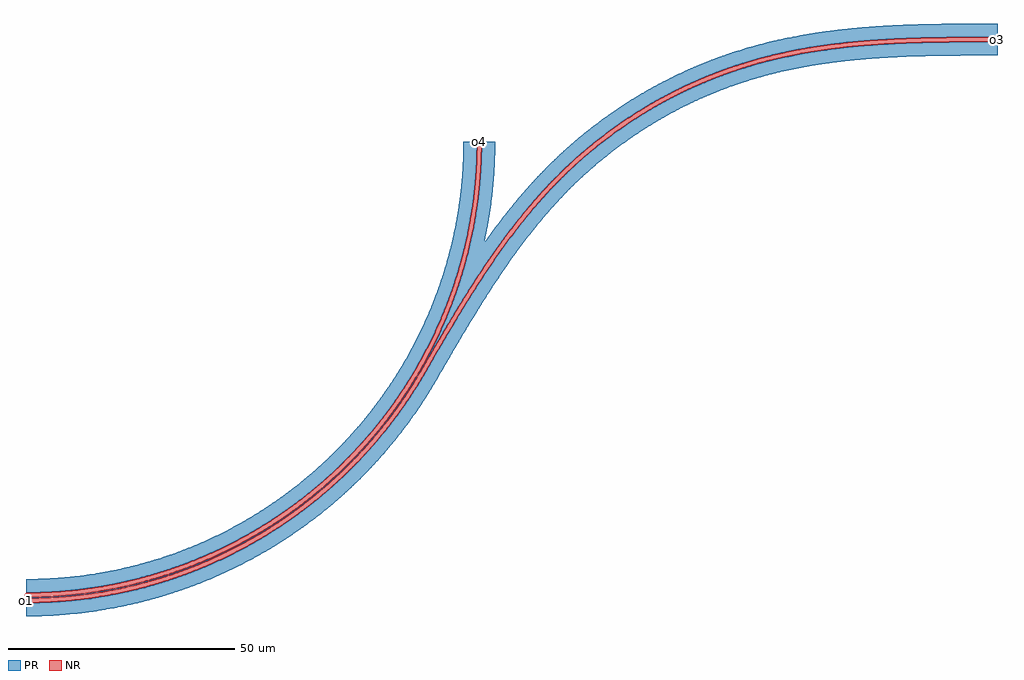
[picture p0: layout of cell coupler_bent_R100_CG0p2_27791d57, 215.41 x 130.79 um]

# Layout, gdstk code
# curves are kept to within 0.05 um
import gdstk
lib = gdstk.Library(unit=1e-6, precision=1e-09)
def P(c, l, *ps):  # polygons
    for p in ps: c.add(gdstk.Polygon(p, *l))
PR = (60, 0)
NR = (61, 0)

ps_26 = lib.new_cell('ps_26')
P(ps_26, PR, [(0,1.7),(0,4.7),(4.856,4.822),(10.184,5.239),(15.24,5.911),(20.254,6.849),(25.211,8.051),(30.558,9.666),(35.578,11.498),(40.268,13.503),(43.983,15.306),(47.829,17.387),(51.576,19.639),(55.018,21.92),(58.553,24.494),(61.781,27.069),(65.075,29.943),(68.236,32.964),(71.257,36.125),(74.131,39.419),(76.706,42.647),(79.28,46.182),(81.561,49.624),(83.813,53.371),(85.894,57.217),(87.697,60.932),(89.702,65.622),(91.534,70.642),(93.149,75.989),(94.351,80.946),(95.289,85.96),(95.961,91.016),(96.378,96.344),(96.5,101.2),(99.5,101.2),(99.374,96.193),(99.021,91.447),(98.405,86.476),(97.637,82.034),(96.609,77.388),(95.288,72.556),(93.81,68.033),(92.022,63.355),(90.107,58.998),(87.869,54.517),(85.537,50.369),(82.87,46.129),(79.994,42.029),(76.915,38.078),(73.809,34.473),(70.534,31.02),(67.098,27.728),(63.509,24.604),(59.774,21.655),(55.487,18.608),(51.261,15.92),(47.125,13.567),(42.881,11.414),(38.308,9.37),(33.403,7.474),(29.123,6.057),(24.298,4.712),(19.657,3.661),(14.724,2.795),(9.753,2.179),(5.007,1.826)],
  [(0,-3.5),(0,-0.5),(4.563,-0.398),(9.369,-0.068),(14.405,0.525),(19.156,1.32),(24.111,2.399),(28.763,3.652),(33.589,5.207),(38.097,6.905),(41.365,8.292),(45.038,10.016),(48.416,11.764),(51.726,13.637),(54.964,15.632),(57.917,17.602),(61.002,19.826),(64.199,22.324),(66.721,24.446),(69.174,26.649),(73.683,31.102),(77.907,35.828),(81.677,40.605),(84.171,44.12),(86.381,47.522),(95.166,62.456),(98.04,67.136),(100.904,71.596),(103.77,75.825),(106.644,79.815),(109.293,83.262),(112.052,86.62),(114.802,89.735),(117.801,92.875),(120.931,95.883),(123.902,98.508),(127.421,101.36),(130.604,103.722),(134.195,106.161),(137.564,108.249),(141.014,110.202),(145.047,112.263),(148.997,114.064),(153.022,115.691),(157.114,117.141),(161.265,118.411),(165.284,119.456),(169.714,120.415),(174.18,121.201),(178.484,121.806),(183.184,122.318),(188.087,122.709),(192.812,122.97),(199.058,123.176),(214.412,123.291),(214.412,120.291),(205.145,120.266),(198.375,120.159),(192.385,119.947),(186.429,119.583),(180.88,119.067),(176.106,118.458),(171.193,117.644),(166.337,116.622),(162.786,115.72),(159.099,114.63),(155.287,113.332),(152.04,112.084),(148.507,110.569),(145.365,109.078),(142.278,107.475),(138.936,105.575),(135.213,103.243),(132.045,101.065),(128.967,98.762),(125.843,96.221),(123.097,93.799),(120.315,91.146),(117.387,88.113),(114.695,85.095),(111.988,81.831),(109.161,78.172),(106.443,74.413),(103.821,70.568),(100.881,66.018),(98.026,61.39),(88.791,45.717),(86.064,41.575),(83.46,37.982),(81.203,35.107),(79.189,32.708),(76.928,30.177),(74.586,27.722),(72.165,25.343),(69.669,23.044),(67.1,20.828),(64.46,18.695),(61.118,16.19),(57.679,13.82),(53.701,11.32),(50.073,9.25),(46.366,7.326),(42.347,5.446),(38.008,3.642),(34.087,2.204),(30.112,0.923),(25.836,-0.262),(21.513,-1.266),(17.152,-2.086),(12.76,-2.72),(8.605,-3.146),(4.176,-3.417)],
  [(0,0.5),(0,0.7),(5.31,0.84),(10.857,1.288),(15.872,1.961),(20.103,2.731),(25.033,3.867),(29.416,5.101),(34.214,6.703),(38.693,8.447),(43.084,10.403),(47.598,12.686),(51.776,15.063),(56.255,17.919),(60.375,20.856),(64.147,23.834),(67.585,26.819),(71.243,30.315),(74.381,33.615),(77.688,37.443),(80.798,41.434),(83.563,45.365),(86.137,49.424),(88.514,53.602),(90.797,58.116),(92.85,62.74),(94.668,67.462),(96.173,72.026),(97.519,76.903),(98.569,81.593),(99.431,86.579),(100.041,91.601),(100.373,96.142),(100.5,101.2),(103.5,101.2),(103.327,95.211),(102.866,89.76),(102.118,84.34),(101.082,78.957),(103.668,82.515),(105.918,85.444),(108.628,88.767),(111.195,91.713),(113.732,94.437),(116.366,97.076),(118.949,99.488),(121.763,101.937),(124.819,104.404),(127.965,106.753),(131.035,108.872),(134.347,110.982),(137.394,112.772),(140.849,114.638),(144.195,116.288),(147.598,117.816),(151.054,119.221),(154.373,120.436),(157.543,121.479),(160.935,122.471),(164.357,123.347),(167.988,124.149),(171.443,124.802),(175.484,125.441),(183.196,126.336),(191.672,126.921),(200.882,127.213),(214.412,127.291),(214.412,124.291),(204.922,124.264),(198.085,124.153),(191.628,123.915),(185.744,123.542),(180.44,123.043),(175.342,122.389),(170.083,121.505),(165.609,120.56),(161.912,119.628),(157.889,118.443),(154.457,117.285),(151.068,116.004),(147.554,114.525),(144.098,112.913),(140.538,111.082),(137.218,109.206),(133.812,107.104),(130.335,104.757),(126.809,102.151),(123.692,99.639),(120.536,96.877),(117.633,94.119),(114.582,90.971),(111.662,87.703),(108.866,84.331),(106.07,80.717),(103.387,77.021),(100.489,72.781),(97.699,68.472),(94.604,63.46),(85.531,48.05),(83.061,44.266),(80.423,40.597),(78.259,37.827),(76.328,35.515),(72.088,30.888),(69.771,28.588),(67.381,26.365),(62.589,22.313),(59.19,19.732),(55.685,17.297),(51.864,14.883),(48.381,12.883),(44.82,11.024),(40.729,9.104),(36.79,7.461),(33.022,6.068),(28.961,4.754),(25.092,3.676),(20.445,2.597),(16.496,1.86),(12.023,1.22),(8.026,0.82),(4.267,0.59)])

ng_24 = lib.new_cell('ng_24')
P(ng_24, NR, [(0,0.7),(0,1.7),(5.758,1.867),(11.496,2.366),(17.196,3.197),(22.594,4.299),(26.96,5.422),(30.795,6.585),(35.049,8.077),(39.001,9.662),(43.333,11.631),(47.345,13.686),(51.261,15.92),(55.695,18.748),(59.573,21.505),(63.122,24.285),(66.727,27.391),(70.18,30.666),(73.472,34.102),(76.596,37.691),(79.545,41.426),(82.452,45.505),(85.28,49.939),(87.514,53.855),(89.569,57.867),(91.538,62.199),(93.123,66.151),(94.615,70.405),(95.778,74.24),(96.901,78.606),(98.003,84.004),(98.834,89.704),(99.333,95.442),(99.5,101.2),(100.5,101.2),(100.373,96.142),(100.041,91.601),(99.431,86.579),(98.569,81.593),(97.519,76.903),(96.173,72.026),(94.668,67.462),(92.85,62.74),(90.797,58.116),(88.514,53.602),(86.137,49.424),(83.563,45.365),(80.798,41.434),(77.688,37.443),(74.381,33.615),(71.243,30.315),(67.585,26.819),(63.757,23.512),(59.766,20.402),(55.835,17.637),(51.776,15.063),(47.598,12.686),(43.084,10.403),(38.46,8.35),(33.738,6.532),(29.174,5.027),(24.297,3.681),(19.607,2.631),(14.621,1.769),(9.599,1.159),(5.058,0.827)],
  [(0,-0.5),(0,0.5),(5.019,0.625),(10.026,1),(15.257,1.662),(20.445,2.597),(24.362,3.491),(27.757,4.401),(31.357,5.506),(34.677,6.659),(38.652,8.213),(42.33,9.829),(45.94,11.59),(49.478,13.493),(52.723,15.405),(56.311,17.716),(59.798,20.177),(62.982,22.626),(67.754,26.702),(69.952,28.762),(72.438,31.248),(74.498,33.446),(76.817,36.087),(80.724,40.999),(83.061,44.266),(85.531,48.05),(94.309,62.972),(97.496,68.15),(100.279,72.464),(102.95,76.398),(105.842,80.412),(108.628,84.033),(111.662,87.703),(114.582,90.971),(117.633,94.119),(120.536,96.877),(123.692,99.639),(126.809,102.151),(130.491,104.867),(134.132,107.31),(137.547,109.4),(141.379,111.531),(145.473,113.574),(149.304,115.281),(153.203,116.827),(157.344,118.268),(161.177,119.425),(165.609,120.56),(169.709,121.433),(173.836,122.159),(178.55,122.822),(183.28,123.331),(188.211,123.719),(193.907,124.017),(199.225,124.18),(214.412,124.291),(214.412,123.291),(199.058,123.176),(192.812,122.97),(188.087,122.709),(182.619,122.264),(177.922,121.735),(173.06,121.019),(168.418,120.154),(164.367,119.233),(160.539,118.203),(156.577,116.962),(152.846,115.624),(148.997,114.064),(145.218,112.345),(141.679,110.558),(138.215,108.632),(134.83,106.569),(131.066,104.049),(127.87,101.705),(124.769,99.236),(121.629,96.519),(118.605,93.673),(115.701,90.704),(112.667,87.337),(109.883,84),(107.097,80.42),(104.205,76.445),(101.217,72.07),(98.242,67.457),(95.166,62.456),(86.381,47.522),(84.028,43.91),(81.374,40.198),(79.195,37.395),(77.086,34.862),(72.804,30.189),(70.464,27.867),(68.051,25.622),(65.372,23.293),(63.012,21.373),(59.778,18.923),(56.238,16.464),(52.597,14.157),(48.861,12.006),(45.038,10.016),(41.365,8.292),(37.391,6.623),(33.35,5.124),(29.492,3.87),(25.586,2.771),(21.393,1.775),(17.16,0.958),(12.897,0.321),(8.611,-0.135),(4.309,-0.409)])

bend_coupler_1 = lib.new_cell('bend_coupler$1')

coupler_bent_r100_cg0p2_ = lib.new_cell('coupler_bent_R100_CG0p2_27791d57')
P(coupler_bent_r100_cg0p2_, NR, [(99.5,101.2),(99.93,101.63),(100,101.63),(100,101.25),(100.375,101.25),(100,101.63),(99.93,101.63),(100,101.7),(100.5,101.2)],
  [(0,-0.5),(-0.5,0),(-0.125,0.375),(-0.05,0.375),(-0.43,0),(-0.05,0),(-0.05,0.375),(-0.125,0.375),(0,0.5)],
  [(0,0.7),(-0.5,1.2),(-0.125,1.575),(-0.05,1.575),(-0.43,1.2),(-0.05,1.2),(-0.05,1.575),(-0.125,1.575),(0,1.7)],
  [(214.412,123.291),(214.412,123.791),(214.462,123.791),(214.462,123.416),(214.842,123.791),(214.412,123.791),(214.412,124.291),(214.912,123.791)])
coupler_bent_r100_cg0p2_.add(gdstk.Reference(ps_26, (0,0)))
coupler_bent_r100_cg0p2_.add(gdstk.Reference(ng_24, (0,0)))
coupler_bent_r100_cg0p2_.add(gdstk.Reference(bend_coupler_1, (0,0)))
coupler_bent_r100_cg0p2_.add(gdstk.Label('o1', (0,0), layer=61, texttype=0))
coupler_bent_r100_cg0p2_.add(gdstk.Label('o2', (0,1.2), layer=61, texttype=0))
coupler_bent_r100_cg0p2_.add(gdstk.Label('o3', (214.412,123.791), layer=61, texttype=0))
coupler_bent_r100_cg0p2_.add(gdstk.Label('o4', (100,101.2), layer=61, texttype=0))

lib.write_gds('coupler_bent_R100_CG0p2_27791d57.gds')
